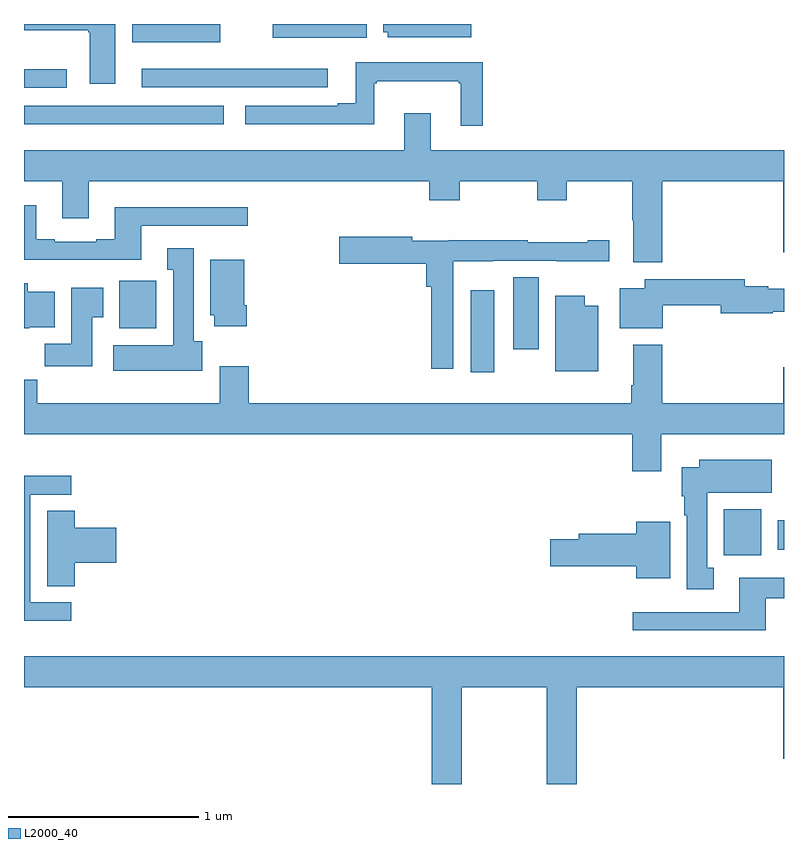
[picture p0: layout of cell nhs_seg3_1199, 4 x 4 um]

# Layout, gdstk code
import gdstk
lib = gdstk.Library(unit=1e-6, precision=1e-09)
def R(c, l, rs):  # rectangles x0, y0, x1, y1
    for r in rs: c.add(gdstk.rectangle(r[:2], r[2:], *l))
def P(c, l, *ps):  # polygons
    for p in ps: c.add(gdstk.Polygon(p, *l))
L2000_40 = (2000, 40)

nhs_seg3_1199 = lib.new_cell('nhs_seg3_1199')
R(nhs_seg3_1199, L2000_40, [(176.684,709.604,176.881,709.846), (176.966,709.632,177,709.788), (175.352,710.568,175.474,710.998), (175.574,710.688,175.708,711.068), (173.501,710.798,173.697,711.049), (173,711.872,174.052,711.969), (173,712.065,173.224,712.163), (173.619,712.068,174.598,712.165), (173.57,712.304,174.034,712.4), (174.308,712.328,174.805,712.4)])
P(nhs_seg3_1199, L2000_40, [(175.354,712.4),(174.89,712.4),(174.89,712.356),(174.915,712.356),(174.915,712.331),(175.354,712.331)],
  [(173.479,712.4),(173,712.4),(173,712.367),(173.338,712.367),(173.338,712.356),(173.345,712.356),(173.345,712.086),(173.479,712.086)],
  [(175.415,712.198),(174.746,712.198),(174.746,711.982),(174.65,711.982),(174.65,711.969),(174.165,711.969),(174.165,711.872),(174.844,711.872),(174.844,712.089),(174.856,712.089),(174.856,712.1),(175.287,712.1),(175.287,712.089),(175.298,712.089),(175.298,711.864),(175.415,711.864)],
  [(176.36,711.572),(176.996,711.572),(176.996,711.198),(177,711.198),(177,711.736),(175.141,711.736),(175.141,711.931),(175.001,711.931),(175.001,711.736),(173,711.736),(173,711.572),(173.201,711.572),(173.201,711.378),(173.341,711.378),(173.341,711.572),(175.133,711.572),(175.133,711.473),(175.293,711.473),(175.293,711.572),(175.702,711.572),(175.702,711.473),(175.857,711.473),(175.857,711.572),(176.2,711.572),(176.2,711.368),(176.207,711.368),(176.207,711.147),(176.36,711.147)],
  [(173.617,711.339),(174.178,711.339),(174.178,711.436),(173.477,711.436),(173.477,711.268),(173.381,711.268),(173.381,711.255),(173.161,711.255),(173.161,711.268),(173.065,711.268),(173.065,711.445),(173,711.445),(173,711.158),(173.617,711.158)],
  [(175.26,711.152),(175.47,711.152),(175.47,711.153),(175.804,711.153),(175.804,711.152),(176.08,711.152),(176.08,711.262),(175.967,711.262),(175.967,711.252),(175.652,711.252),(175.652,711.262),(175.236,711.262),(175.236,711.259),(175.044,711.259),(175.044,711.279),(174.66,711.279),(174.66,711.137),(175.118,711.137),(175.118,711.017),(175.144,711.017),(175.144,710.586),(175.26,710.586)],
  [(173.938,710.73),(173.893,710.73),(173.893,711.22),(173.753,711.22),(173.753,711.107),(173.786,711.107),(173.786,710.71),(173.469,710.71),(173.469,710.576),(173.938,710.576)],
  [(174.173,710.92),(174.16,710.92),(174.16,711.16),(173.981,711.16),(173.981,710.868),(174.002,710.868),(174.002,710.808),(174.173,710.808)],
  [(176.362,710.92),(176.666,710.92),(176.666,710.878),(176.942,710.878),(176.942,710.885),(177,710.885),(177,711.007),(176.916,711.007),(176.916,711.02),(176.794,711.02),(176.794,711.056),(176.268,711.056),(176.268,711.01),(176.135,711.01),(176.135,710.798),(176.362,710.798)],
  [(173.028,710.804),(173.161,710.804),(173.161,710.992),(173.02,710.992),(173.02,711.036),(173,711.036),(173,710.798),(173.028,710.798)],
  [(173.359,710.857),(173.416,710.857),(173.416,711.013),(173.249,711.013),(173.249,710.716),(173.11,710.716),(173.11,710.598),(173.359,710.598)],
  [(176.023,710.917),(175.951,710.917),(175.951,710.971),(175.796,710.971),(175.796,710.573),(176.023,710.573)],
  [(176.353,710.24),(177,710.24),(177,710.593),(176.996,710.593),(176.996,710.404),(176.36,710.404),(176.36,710.713),(176.207,710.713),(176.207,710.5),(176.195,710.5),(176.195,710.404),(174.182,710.404),(174.182,710.599),(174.029,710.599),(174.029,710.404),(173.069,710.404),(173.069,710.528),(173,710.528),(173,710.24),(176.201,710.24),(176.201,710.046),(176.353,710.046)],
  [(176.629,709.538),(176.596,709.538),(176.596,709.934),(176.935,709.934),(176.935,710.107),(176.555,710.107),(176.555,710.068),(176.462,710.068),(176.462,709.914),(176.474,709.914),(176.474,709.814),(176.489,709.814),(176.489,709.425),(176.629,709.425)],
  [(173.248,709.356),(173.034,709.356),(173.034,709.923),(173.248,709.923),(173.248,710.022),(173,710.022),(173,709.26),(173.248,709.26)],
  [(173.267,709.565),(173.485,709.565),(173.485,709.748),(173.267,709.748),(173.267,709.838),(173.123,709.838),(173.123,709.441),(173.267,709.441)],
  [(176.401,709.78),(176.222,709.78),(176.222,709.718),(175.919,709.718),(175.919,709.688),(175.77,709.688),(175.77,709.546),(176.222,709.546),(176.222,709.484),(176.401,709.484)],
  [(176.905,709.377),(177,709.377),(177,709.486),(176.765,709.486),(176.765,709.305),(176.205,709.305),(176.205,709.208),(176.905,709.208)],
  [(175.305,708.908),(175.75,708.908),(175.75,708.4),(175.91,708.4),(175.91,708.908),(176.996,708.908),(176.996,708.534),(177,708.534),(177,709.072),(173,709.072),(173,708.908),(175.145,708.908),(175.145,708.4),(175.305,708.4)])

lib.write_gds('nhs_seg3_1199.gds')
